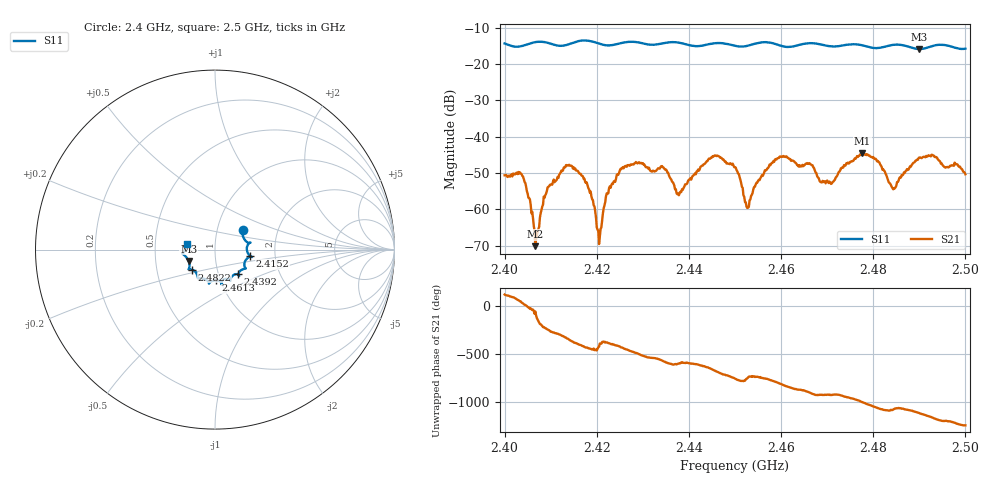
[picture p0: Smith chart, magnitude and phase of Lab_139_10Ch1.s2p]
# Hz S RI R 50
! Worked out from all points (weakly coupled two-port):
!   601 points, 2.4 GHz to 2.5 GHz, reference 50 ohm
!   highest |S21| = -44.61 dB at 2.4777 GHz (marker M1); lowest = -70.2 dB at 2.4067 GHz (marker M2)
!   lowest |S11| = -15.9 dB at 2.49 GHz (marker M3), VSWR 1.38, Z = 36.9 - j4.83 ohm
!   |S11| at or under -10 dB: start of sweep to end of sweep
!   S12 and S22 are empty: the file has one direction only
!   S11 on the Smith chart (normalised r, x): 2.4 GHz: 1.33, +0.31; 2.4152 GHz: 1.48, -0.11; 2.4392 GHz: 1.23, -0.35; 2.4613 GHz: 0.96, -0.34; 2.4822 GHz: 0.76, -0.17; 2.5 GHz: 0.73, +0.05
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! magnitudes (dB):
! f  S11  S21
! 2.4 GHz  -14.4  -50.7
! 2.4038 GHz  -15.1  -50.8
! 2.4067 GHz  -14.0  -70.2
! 2.4097 GHz  -14.3  -53.7
! 2.4152 GHz  -14.1  -49.0
! 2.4167 GHz  -13.6  -50.7
! 2.4205 GHz  -14.4  -69.6
! 2.4223 GHz  -14.9  -55.8
! 2.4255 GHz  -14.2  -48.7
! 2.4333 GHz  -14.6  -48.7
! 2.4392 GHz  -14.6  -53.2
! 2.4453 GHz  -14.4  -45.5
! 2.45 GHz  -15.0  -48.4
! 2.4527 GHz  -15.0  -59.7
! 2.4613 GHz  -15.4  -45.7
! 2.4667 GHz  -14.3  -47.9
! 2.4708 GHz  -15.2  -53.0
! 2.4777 GHz  -14.9  -44.6
! 2.4822 GHz  -15.4  -49.0
! 2.4833 GHz  -15.0  -52.5
! 2.49 GHz  -15.9  -45.7
! 2.5 GHz  -15.8  -50.4
